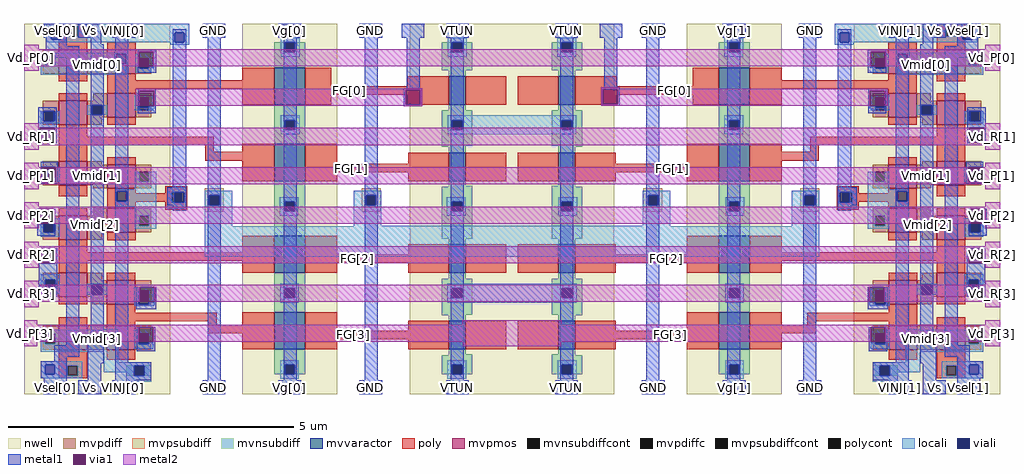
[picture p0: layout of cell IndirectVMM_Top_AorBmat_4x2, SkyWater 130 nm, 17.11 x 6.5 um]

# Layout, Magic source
magic
tech sky130A
<< nwell >>
rect -12 15 244 665
rect 371 15 537 665
rect 664 15 1023 665
rect 1150 15 1316 665
rect 1443 15 1699 665
<< mvpmos >>
rect 49 577 99 619
rect 134 577 184 619
rect 49 488 99 530
rect 134 501 184 543
rect 1503 577 1553 619
rect 1588 577 1638 619
rect 49 382 99 424
rect 134 376 184 418
rect 1503 501 1553 543
rect 1588 488 1638 530
rect 49 286 99 328
rect 134 299 184 341
rect 1503 376 1553 418
rect 1588 382 1638 424
rect 1503 299 1553 341
rect 1588 286 1638 328
rect 49 186 99 228
rect 133 173 183 215
rect 49 93 99 135
rect 133 93 183 135
rect 1504 173 1554 215
rect 1588 186 1638 228
rect 1504 93 1554 135
rect 1588 93 1638 135
<< mvvaractor >>
rect 427 523 481 588
rect 733 523 762 573
rect 925 523 954 573
rect 1206 523 1260 588
rect 427 389 481 454
rect 733 389 762 439
rect 925 389 954 439
rect 1206 389 1260 454
rect 427 228 481 293
rect 733 228 762 278
rect 925 228 954 278
rect 1206 228 1260 293
rect 427 94 481 159
rect 733 94 762 144
rect 925 94 954 144
rect 1206 94 1260 159
<< mvpdiff >>
rect 21 610 49 619
rect 21 593 25 610
rect 43 593 49 610
rect 21 577 49 593
rect 99 577 134 619
rect 184 604 211 619
rect 184 587 190 604
rect 207 587 211 604
rect 184 577 211 587
rect 109 530 134 543
rect 21 511 49 530
rect 21 494 25 511
rect 43 494 49 511
rect 21 488 49 494
rect 99 522 134 530
rect 99 505 107 522
rect 125 505 134 522
rect 99 501 134 505
rect 184 530 211 543
rect 184 513 190 530
rect 207 513 211 530
rect 1476 604 1503 619
rect 1476 587 1480 604
rect 1497 587 1503 604
rect 1476 577 1503 587
rect 1553 577 1588 619
rect 1638 610 1666 619
rect 1638 593 1644 610
rect 1662 593 1666 610
rect 1638 577 1666 593
rect 1476 530 1503 543
rect 184 501 211 513
rect 99 488 124 501
rect 21 413 49 424
rect 21 396 25 413
rect 43 396 49 413
rect 21 382 49 396
rect 99 418 124 424
rect 99 382 134 418
rect 109 376 134 382
rect 184 405 211 418
rect 184 388 190 405
rect 207 388 211 405
rect 1476 513 1480 530
rect 1497 513 1503 530
rect 1476 501 1503 513
rect 1553 530 1578 543
rect 1553 522 1588 530
rect 1553 505 1562 522
rect 1580 505 1588 522
rect 1553 501 1588 505
rect 1563 488 1588 501
rect 1638 511 1666 530
rect 1638 494 1644 511
rect 1662 494 1666 511
rect 1638 488 1666 494
rect 1563 418 1588 424
rect 1476 405 1503 418
rect 184 376 211 388
rect 109 328 134 341
rect 21 316 49 328
rect 21 299 25 316
rect 43 299 49 316
rect 21 286 49 299
rect 99 299 134 328
rect 184 328 211 341
rect 184 311 190 328
rect 207 311 211 328
rect 184 299 211 311
rect 99 286 125 299
rect 1476 388 1480 405
rect 1497 388 1503 405
rect 1476 376 1503 388
rect 1553 382 1588 418
rect 1638 413 1666 424
rect 1638 396 1644 413
rect 1662 396 1666 413
rect 1638 382 1666 396
rect 1553 376 1578 382
rect 1476 328 1503 341
rect 1476 311 1480 328
rect 1497 311 1503 328
rect 1476 299 1503 311
rect 1553 328 1578 341
rect 1553 299 1588 328
rect 1562 286 1588 299
rect 1638 316 1666 328
rect 1638 299 1644 316
rect 1662 299 1666 316
rect 1638 286 1666 299
rect 21 216 49 228
rect 21 199 25 216
rect 43 199 49 216
rect 21 186 49 199
rect 99 215 125 228
rect 99 207 133 215
rect 99 190 107 207
rect 125 190 133 207
rect 99 186 133 190
rect 108 173 133 186
rect 183 197 211 215
rect 183 180 189 197
rect 207 180 211 197
rect 183 173 211 180
rect 21 121 49 135
rect 21 104 25 121
rect 43 104 49 121
rect 21 93 49 104
rect 99 93 133 135
rect 183 120 211 135
rect 183 103 189 120
rect 207 103 211 120
rect 183 93 211 103
rect 1562 215 1588 228
rect 1476 197 1504 215
rect 1476 180 1480 197
rect 1498 180 1504 197
rect 1476 173 1504 180
rect 1554 207 1588 215
rect 1554 190 1562 207
rect 1580 190 1588 207
rect 1554 186 1588 190
rect 1638 216 1666 228
rect 1638 199 1644 216
rect 1662 199 1666 216
rect 1638 186 1666 199
rect 1554 173 1579 186
rect 1476 120 1504 135
rect 1476 103 1480 120
rect 1498 103 1504 120
rect 1476 93 1504 103
rect 1554 93 1588 135
rect 1638 121 1666 135
rect 1638 104 1644 121
rect 1662 104 1666 121
rect 1638 93 1666 104
<< mvpdiffc >>
rect 25 593 43 610
rect 190 587 207 604
rect 25 494 43 511
rect 107 505 125 522
rect 190 513 207 530
rect 1480 587 1497 604
rect 1644 593 1662 610
rect 25 396 43 413
rect 190 388 207 405
rect 1480 513 1497 530
rect 1562 505 1580 522
rect 1644 494 1662 511
rect 25 299 43 316
rect 190 311 207 328
rect 1480 388 1497 405
rect 1644 396 1662 413
rect 1480 311 1497 328
rect 1644 299 1662 316
rect 25 199 43 216
rect 107 190 125 207
rect 189 180 207 197
rect 25 104 43 121
rect 189 103 207 120
rect 1480 180 1498 197
rect 1562 190 1580 207
rect 1644 199 1662 216
rect 1480 103 1498 120
rect 1644 104 1662 121
<< mvpsubdiff >>
rect 305 364 338 376
rect 305 347 313 364
rect 330 347 338 364
rect 305 335 338 347
rect 580 364 613 376
rect 580 347 588 364
rect 605 347 613 364
rect 580 335 613 347
rect 1074 364 1107 376
rect 1074 347 1082 364
rect 1099 347 1107 364
rect 1074 335 1107 347
rect 1349 364 1382 376
rect 1349 347 1357 364
rect 1374 347 1382 364
rect 1349 335 1382 347
<< mvnsubdiff >>
rect 427 615 446 632
rect 463 615 481 632
rect 427 588 481 615
rect 720 615 739 632
rect 756 615 774 632
rect 720 583 774 615
rect 913 615 931 632
rect 948 615 967 632
rect 913 583 967 615
rect 1206 615 1224 632
rect 1241 615 1260 632
rect 1206 588 1260 615
rect 733 573 762 583
rect 925 573 954 583
rect 427 496 481 523
rect 733 513 762 523
rect 925 513 954 523
rect 427 479 446 496
rect 463 479 481 496
rect 427 454 481 479
rect 720 496 774 513
rect 720 479 739 496
rect 756 479 774 496
rect 720 451 774 479
rect 913 496 967 513
rect 913 479 931 496
rect 948 479 967 496
rect 913 451 967 479
rect 1206 496 1260 523
rect 1206 479 1224 496
rect 1241 479 1260 496
rect 1206 454 1260 479
rect 720 449 762 451
rect 733 439 762 449
rect 925 449 967 451
rect 925 439 954 449
rect 427 353 481 389
rect 733 381 762 389
rect 925 381 954 389
rect 733 379 774 381
rect 427 336 444 353
rect 461 336 481 353
rect 427 293 481 336
rect 720 353 774 379
rect 720 336 737 353
rect 754 336 774 353
rect 720 288 774 336
rect 913 379 954 381
rect 913 353 967 379
rect 913 336 933 353
rect 950 336 967 353
rect 913 288 967 336
rect 1206 353 1260 389
rect 1206 336 1226 353
rect 1243 336 1260 353
rect 1206 293 1260 336
rect 733 278 762 288
rect 925 278 954 288
rect 427 201 481 228
rect 733 218 762 228
rect 925 218 954 228
rect 427 184 445 201
rect 462 184 481 201
rect 427 159 481 184
rect 720 201 774 218
rect 720 184 738 201
rect 755 184 774 201
rect 720 155 774 184
rect 913 201 967 218
rect 913 184 932 201
rect 949 184 967 201
rect 913 155 967 184
rect 1206 201 1260 228
rect 1206 184 1225 201
rect 1242 184 1260 201
rect 1206 159 1260 184
rect 720 154 762 155
rect 733 144 762 154
rect 925 154 967 155
rect 925 144 954 154
rect 427 67 481 94
rect 733 85 762 94
rect 925 85 954 94
rect 733 84 774 85
rect 167 65 211 66
rect 167 48 181 65
rect 199 48 211 65
rect 427 50 445 67
rect 462 50 481 67
rect 720 67 774 84
rect 720 50 738 67
rect 755 50 774 67
rect 913 84 954 85
rect 913 67 967 84
rect 913 50 932 67
rect 949 50 967 67
rect 1206 67 1260 94
rect 1206 50 1225 67
rect 1242 50 1260 67
rect 1476 65 1520 66
rect 1476 48 1488 65
rect 1506 48 1520 65
<< mvpsubdiffcont >>
rect 313 347 330 364
rect 588 347 605 364
rect 1082 347 1099 364
rect 1357 347 1374 364
<< mvnsubdiffcont >>
rect 446 615 463 632
rect 739 615 756 632
rect 931 615 948 632
rect 1224 615 1241 632
rect 446 479 463 496
rect 739 479 756 496
rect 931 479 948 496
rect 1224 479 1241 496
rect 444 336 461 353
rect 737 336 754 353
rect 933 336 950 353
rect 1226 336 1243 353
rect 445 184 462 201
rect 738 184 755 201
rect 932 184 949 201
rect 1225 184 1242 201
rect 181 48 199 65
rect 445 50 462 67
rect 738 50 755 67
rect 932 50 949 67
rect 1225 50 1242 67
rect 1488 48 1506 65
<< poly >>
rect 49 660 99 665
rect 49 643 65 660
rect 82 643 99 660
rect 49 619 99 643
rect 1588 660 1638 665
rect 1588 643 1605 660
rect 1622 643 1638 660
rect 134 619 184 632
rect 49 564 99 577
rect 134 566 184 577
rect 371 566 427 588
rect 134 551 427 566
rect 134 543 184 551
rect 49 530 99 543
rect 371 523 427 551
rect 481 555 527 588
rect 1503 619 1553 632
rect 1588 619 1638 643
rect 660 555 733 573
rect 481 540 733 555
rect 481 523 527 540
rect 660 523 733 540
rect 762 523 833 573
rect 854 523 925 573
rect 954 555 1027 573
rect 1160 555 1206 588
rect 954 540 1206 555
rect 954 523 1027 540
rect 1160 523 1206 540
rect 1260 566 1316 588
rect 1503 566 1553 577
rect 1260 551 1553 566
rect 1588 564 1638 577
rect 1260 523 1316 551
rect 1503 543 1553 551
rect 134 488 184 501
rect 49 467 99 488
rect 49 452 321 467
rect 49 424 99 452
rect 306 440 321 452
rect 371 440 427 454
rect 134 418 184 431
rect 306 425 427 440
rect 49 362 99 382
rect 371 389 427 425
rect 481 419 537 454
rect 1588 530 1638 543
rect 1503 488 1553 501
rect 1588 467 1638 488
rect 662 419 733 439
rect 481 404 733 419
rect 481 389 537 404
rect 662 389 733 404
rect 762 389 833 439
rect 854 389 925 439
rect 954 419 1025 439
rect 1150 419 1206 454
rect 954 404 1206 419
rect 954 389 1025 404
rect 1150 389 1206 404
rect 1260 440 1316 454
rect 1366 452 1638 467
rect 1366 440 1381 452
rect 1260 425 1381 440
rect 1260 389 1316 425
rect 1503 418 1553 431
rect 1588 424 1638 452
rect 134 368 184 376
rect 236 369 274 380
rect 236 368 247 369
rect 134 353 247 368
rect 134 341 184 353
rect 236 352 247 353
rect 264 352 274 369
rect 49 328 99 341
rect 236 339 274 352
rect 49 264 99 286
rect 134 285 184 299
rect 371 264 427 293
rect 49 249 427 264
rect 49 228 99 249
rect 371 228 427 249
rect 481 261 537 293
rect 1413 369 1451 380
rect 1413 352 1423 369
rect 1440 368 1451 369
rect 1503 368 1553 376
rect 1440 353 1553 368
rect 1588 362 1638 382
rect 1440 352 1451 353
rect 1413 339 1451 352
rect 1503 341 1553 353
rect 1588 328 1638 341
rect 662 261 733 278
rect 481 246 733 261
rect 481 228 537 246
rect 662 228 733 246
rect 762 228 833 278
rect 854 228 925 278
rect 954 261 1025 278
rect 1150 261 1206 293
rect 954 246 1206 261
rect 954 228 1025 246
rect 1150 228 1206 246
rect 1260 264 1316 293
rect 1503 285 1553 299
rect 1588 264 1638 286
rect 1260 249 1638 264
rect 1260 228 1316 249
rect 1588 228 1638 249
rect 133 215 183 228
rect 49 173 99 186
rect 133 158 183 173
rect 49 135 99 150
rect 133 143 326 158
rect 133 135 183 143
rect 310 137 326 143
rect 371 137 427 159
rect 310 122 427 137
rect 371 94 427 122
rect 481 127 537 159
rect 1504 215 1554 228
rect 1588 173 1638 186
rect 662 127 733 144
rect 481 112 733 127
rect 481 94 537 112
rect 662 94 733 112
rect 762 94 833 144
rect 854 94 925 144
rect 954 127 1025 144
rect 1150 127 1206 159
rect 954 112 1206 127
rect 954 94 1025 112
rect 1150 94 1206 112
rect 1260 137 1316 159
rect 1504 158 1554 173
rect 1361 143 1554 158
rect 1361 137 1377 143
rect 1260 122 1377 137
rect 1504 135 1554 143
rect 1588 135 1638 150
rect 1260 94 1316 122
rect 49 65 99 93
rect 133 76 183 93
rect 49 48 65 65
rect 82 48 99 65
rect 1504 76 1554 93
rect 1588 65 1638 93
rect 1588 48 1605 65
rect 1622 48 1638 65
rect 49 43 99 48
rect 1588 43 1638 48
<< polycont >>
rect 65 643 82 660
rect 1605 643 1622 660
rect 247 352 264 369
rect 1423 352 1440 369
rect 65 48 82 65
rect 1605 48 1622 65
<< locali >>
rect 27 660 278 665
rect 27 655 65 660
rect 27 638 36 655
rect 53 643 65 655
rect 82 649 278 660
rect 82 643 252 649
rect 53 638 252 643
rect 27 632 252 638
rect 269 632 278 649
rect 1409 660 1660 665
rect 1409 649 1605 660
rect 244 628 278 632
rect 438 632 471 640
rect 438 615 446 632
rect 463 615 471 632
rect 17 612 167 614
rect 17 610 150 612
rect 17 593 25 610
rect 43 595 150 610
rect 43 593 167 595
rect 17 575 167 593
rect 184 605 211 612
rect 438 607 471 615
rect 731 632 764 640
rect 731 615 739 632
rect 756 615 764 632
rect 731 607 764 615
rect 923 632 956 640
rect 923 615 931 632
rect 948 615 956 632
rect 923 607 956 615
rect 1216 632 1249 640
rect 1216 615 1224 632
rect 1241 615 1249 632
rect 1409 632 1418 649
rect 1435 643 1605 649
rect 1622 655 1660 660
rect 1622 643 1634 655
rect 1435 638 1634 643
rect 1651 638 1660 655
rect 1435 632 1660 638
rect 1409 628 1443 632
rect 1216 607 1249 615
rect 1520 612 1670 614
rect 1476 605 1503 612
rect 184 604 216 605
rect 184 587 190 604
rect 207 588 216 604
rect 1471 604 1503 605
rect 1471 588 1480 604
rect 207 587 211 588
rect 184 579 211 587
rect 1476 587 1480 588
rect 1497 587 1503 604
rect 1476 579 1503 587
rect 1537 610 1670 612
rect 1537 595 1644 610
rect 1520 593 1644 595
rect 1662 593 1670 610
rect 1520 575 1670 593
rect 182 535 215 539
rect 17 494 22 511
rect 43 494 51 511
rect 99 505 107 522
rect 125 505 134 522
rect 182 513 190 535
rect 207 534 215 535
rect 1472 535 1505 539
rect 1472 534 1480 535
rect 207 517 219 534
rect 1468 517 1480 534
rect 207 513 215 517
rect 1472 513 1480 517
rect 1497 513 1505 535
rect 1553 505 1562 522
rect 1580 505 1588 522
rect 17 490 51 494
rect 438 496 471 504
rect 438 479 446 496
rect 463 479 471 496
rect 438 471 471 479
rect 731 496 956 504
rect 731 479 739 496
rect 756 479 931 496
rect 948 479 956 496
rect 731 471 956 479
rect 1216 496 1249 504
rect 1216 479 1224 496
rect 1241 479 1249 496
rect 1636 494 1644 511
rect 1665 494 1670 511
rect 1636 490 1670 494
rect 1216 471 1249 479
rect 17 412 25 413
rect 17 395 24 412
rect 43 396 51 413
rect 41 395 51 396
rect 17 388 51 395
rect 182 388 190 405
rect 207 388 220 405
rect 182 375 220 388
rect 1467 388 1480 405
rect 1497 388 1505 405
rect 1636 396 1644 413
rect 1662 412 1670 413
rect 1636 395 1646 396
rect 1663 395 1670 412
rect 1636 388 1670 395
rect 148 371 220 375
rect 148 354 151 371
rect 168 354 220 371
rect 148 344 220 354
rect 182 328 220 344
rect 239 369 272 378
rect 239 352 247 369
rect 269 352 272 369
rect 239 340 272 352
rect 305 364 353 372
rect 305 347 313 364
rect 330 347 353 364
rect 566 364 614 372
rect 17 316 51 324
rect 17 299 23 316
rect 43 299 51 316
rect 182 311 190 328
rect 207 311 220 328
rect 182 305 220 311
rect 305 310 353 347
rect 436 353 469 361
rect 436 336 444 353
rect 463 336 469 353
rect 436 328 469 336
rect 566 347 588 364
rect 605 347 614 364
rect 1073 364 1121 372
rect 566 311 614 347
rect 729 353 762 361
rect 729 336 737 353
rect 756 336 762 353
rect 729 328 762 336
rect 925 353 958 361
rect 925 336 931 353
rect 950 336 958 353
rect 925 328 958 336
rect 1073 347 1082 364
rect 1099 347 1121 364
rect 1334 364 1382 372
rect 1073 311 1121 347
rect 1218 353 1251 361
rect 1218 336 1224 353
rect 1243 336 1251 353
rect 1218 328 1251 336
rect 1334 347 1357 364
rect 1374 347 1382 364
rect 566 310 1121 311
rect 1334 310 1382 347
rect 1415 369 1448 378
rect 1415 352 1418 369
rect 1440 352 1448 369
rect 1415 340 1448 352
rect 1467 375 1505 388
rect 1467 371 1539 375
rect 1467 354 1519 371
rect 1536 354 1539 371
rect 1467 344 1539 354
rect 17 291 51 299
rect 305 256 1382 310
rect 1467 328 1505 344
rect 1467 311 1480 328
rect 1497 311 1505 328
rect 1467 305 1505 311
rect 1636 316 1670 324
rect 1636 299 1644 316
rect 1664 299 1670 316
rect 1636 291 1670 299
rect 17 216 51 226
rect 17 199 25 216
rect 43 199 51 216
rect 1636 216 1670 226
rect 17 191 51 199
rect 99 207 133 209
rect 99 190 107 207
rect 125 190 133 207
rect 181 197 217 203
rect 181 173 189 197
rect 207 173 217 197
rect 437 201 470 209
rect 437 184 445 201
rect 463 184 470 201
rect 437 176 470 184
rect 730 201 957 209
rect 730 184 738 201
rect 756 184 931 201
rect 949 184 957 201
rect 730 176 957 184
rect 1217 201 1250 209
rect 1554 207 1588 209
rect 1217 184 1224 201
rect 1242 184 1250 201
rect 1217 176 1250 184
rect 1470 197 1506 203
rect 1470 173 1480 197
rect 1498 173 1506 197
rect 1554 190 1562 207
rect 1580 190 1588 207
rect 1636 199 1644 216
rect 1662 199 1670 216
rect 1636 191 1670 199
rect 181 170 216 173
rect 1471 170 1506 173
rect 128 128 153 129
rect 1534 128 1559 129
rect 17 121 153 128
rect 17 104 25 121
rect 43 104 153 121
rect 17 90 153 104
rect 181 121 215 128
rect 181 103 189 121
rect 207 103 215 121
rect 181 95 215 103
rect 1472 121 1506 128
rect 1472 103 1480 121
rect 1498 103 1506 121
rect 1472 95 1506 103
rect 1534 121 1670 128
rect 1534 104 1644 121
rect 1662 104 1670 121
rect 17 67 90 73
rect 17 50 25 67
rect 42 65 90 67
rect 42 50 65 65
rect 17 48 65 50
rect 82 48 90 65
rect 128 71 153 90
rect 1534 90 1670 104
rect 128 65 211 71
rect 128 54 181 65
rect 17 43 90 48
rect 167 48 181 54
rect 199 48 211 65
rect 167 37 211 48
rect 437 67 470 75
rect 437 50 445 67
rect 463 50 470 67
rect 437 42 470 50
rect 730 67 763 75
rect 730 50 738 67
rect 756 50 763 67
rect 730 42 763 50
rect 924 67 957 75
rect 924 50 931 67
rect 949 50 957 67
rect 924 42 957 50
rect 1217 67 1250 75
rect 1534 71 1559 90
rect 1217 50 1224 67
rect 1242 50 1250 67
rect 1217 42 1250 50
rect 1476 65 1559 71
rect 1476 48 1488 65
rect 1506 54 1559 65
rect 1597 67 1670 73
rect 1597 65 1645 67
rect 1506 48 1520 54
rect 1476 37 1520 48
rect 1597 48 1605 65
rect 1622 50 1645 65
rect 1662 50 1670 67
rect 1622 48 1670 50
rect 1597 43 1670 48
<< viali >>
rect 36 638 53 655
rect 252 632 269 649
rect 446 615 463 632
rect 150 595 167 612
rect 739 615 756 632
rect 931 615 948 632
rect 1224 615 1241 632
rect 1418 632 1435 649
rect 1634 638 1651 655
rect 190 587 207 604
rect 1480 587 1497 604
rect 1520 595 1537 612
rect 22 494 25 511
rect 25 494 40 511
rect 108 505 125 522
rect 190 530 207 535
rect 190 518 207 530
rect 1480 530 1497 535
rect 1480 518 1497 530
rect 1562 505 1579 522
rect 446 479 463 496
rect 739 479 756 496
rect 931 479 948 496
rect 1224 479 1241 496
rect 1647 494 1662 511
rect 1662 494 1665 511
rect 24 396 25 412
rect 25 396 41 412
rect 24 395 41 396
rect 1646 396 1662 412
rect 1662 396 1663 412
rect 1646 395 1663 396
rect 151 354 168 371
rect 252 352 264 369
rect 264 352 269 369
rect 313 347 330 364
rect 23 299 25 316
rect 25 299 40 316
rect 446 336 461 353
rect 461 336 463 353
rect 588 347 605 364
rect 739 336 754 353
rect 754 336 756 353
rect 931 336 933 353
rect 933 336 948 353
rect 1082 347 1099 364
rect 1224 336 1226 353
rect 1226 336 1241 353
rect 1357 347 1374 364
rect 1418 352 1423 369
rect 1423 352 1435 369
rect 1519 354 1536 371
rect 1647 299 1662 316
rect 1662 299 1664 316
rect 25 199 43 216
rect 108 190 125 207
rect 189 180 207 190
rect 189 173 207 180
rect 446 184 462 201
rect 462 184 463 201
rect 739 184 755 201
rect 755 184 756 201
rect 931 184 932 201
rect 932 184 948 201
rect 1224 184 1225 201
rect 1225 184 1241 201
rect 1480 180 1498 190
rect 1480 173 1498 180
rect 1562 190 1579 207
rect 1644 199 1662 216
rect 189 120 207 121
rect 189 104 207 120
rect 1480 120 1498 121
rect 1480 104 1498 120
rect 25 50 42 67
rect 181 48 199 65
rect 446 50 462 67
rect 462 50 463 67
rect 739 50 755 67
rect 755 50 756 67
rect 931 50 932 67
rect 932 50 948 67
rect 1224 50 1225 67
rect 1225 50 1241 67
rect 1488 48 1506 65
rect 1645 50 1662 67
<< metal1 >>
rect 23 655 63 665
rect 23 640 36 655
rect 26 638 36 640
rect 53 638 63 655
rect 83 640 123 665
rect 143 640 183 665
rect 249 649 272 655
rect 26 625 63 638
rect 105 629 123 640
rect 26 605 85 625
rect 13 511 45 518
rect 13 494 22 511
rect 40 494 45 511
rect 13 482 45 494
rect 13 456 16 482
rect 42 456 45 482
rect 13 455 45 456
rect 17 413 47 423
rect 17 387 18 413
rect 44 387 47 413
rect 17 384 47 387
rect 11 314 14 340
rect 11 299 23 314
rect 40 299 43 340
rect 11 293 43 299
rect 14 245 17 271
rect 43 245 46 271
rect 14 216 46 245
rect 14 199 25 216
rect 43 199 46 216
rect 14 186 46 199
rect 62 101 85 605
rect 105 522 128 629
rect 148 616 171 640
rect 249 632 252 649
rect 269 632 272 649
rect 301 640 341 665
rect 434 640 474 665
rect 576 640 616 665
rect 650 640 690 665
rect 728 640 768 665
rect 919 640 959 665
rect 997 640 1037 665
rect 1071 640 1111 665
rect 1213 640 1253 665
rect 1346 640 1386 665
rect 1415 649 1438 655
rect 146 612 171 616
rect 146 595 150 612
rect 167 595 171 612
rect 146 589 171 595
rect 105 505 108 522
rect 125 505 128 522
rect 105 207 128 505
rect 105 190 108 207
rect 125 190 128 207
rect 105 108 128 190
rect 41 81 85 101
rect 41 73 63 81
rect 17 67 63 73
rect 17 50 25 67
rect 42 50 63 67
rect 17 43 63 50
rect 23 15 63 43
rect 100 70 128 108
rect 148 371 171 589
rect 187 616 220 619
rect 187 590 189 616
rect 215 590 220 616
rect 187 587 190 590
rect 207 587 220 590
rect 187 579 220 587
rect 187 547 219 551
rect 187 518 190 547
rect 216 521 219 547
rect 207 518 219 521
rect 187 508 219 518
rect 249 378 272 632
rect 148 354 151 371
rect 168 354 171 371
rect 148 71 171 354
rect 239 369 272 378
rect 239 352 252 369
rect 269 352 272 369
rect 239 347 272 352
rect 249 337 272 347
rect 310 364 333 640
rect 310 347 313 364
rect 330 347 333 364
rect 185 190 191 203
rect 185 173 189 190
rect 217 177 220 203
rect 207 173 220 177
rect 185 164 220 173
rect 186 104 189 133
rect 215 107 218 133
rect 207 104 218 107
rect 186 91 218 104
rect 100 40 123 70
rect 148 65 211 71
rect 148 48 181 65
rect 199 48 211 65
rect 148 40 211 48
rect 310 40 333 347
rect 443 632 466 640
rect 443 615 446 632
rect 463 615 466 632
rect 443 496 466 615
rect 443 479 446 496
rect 463 479 466 496
rect 443 353 466 479
rect 443 336 446 353
rect 463 336 466 353
rect 443 201 466 336
rect 443 184 446 201
rect 463 184 466 201
rect 443 67 466 184
rect 443 50 446 67
rect 463 50 466 67
rect 443 40 466 50
rect 585 364 608 640
rect 659 552 682 640
rect 736 632 759 640
rect 736 615 739 632
rect 756 615 759 632
rect 654 549 686 552
rect 654 523 657 549
rect 683 523 686 549
rect 654 520 686 523
rect 585 347 588 364
rect 605 347 608 364
rect 585 40 608 347
rect 736 496 759 615
rect 736 479 739 496
rect 756 479 759 496
rect 736 353 759 479
rect 736 336 739 353
rect 756 336 759 353
rect 736 201 759 336
rect 736 184 739 201
rect 756 184 759 201
rect 736 67 759 184
rect 736 50 739 67
rect 756 50 759 67
rect 736 40 759 50
rect 928 632 951 640
rect 928 615 931 632
rect 948 615 951 632
rect 928 496 951 615
rect 1005 553 1028 640
rect 1000 550 1032 553
rect 1000 524 1003 550
rect 1029 524 1032 550
rect 1000 521 1032 524
rect 928 479 931 496
rect 948 479 951 496
rect 928 353 951 479
rect 928 336 931 353
rect 948 336 951 353
rect 928 201 951 336
rect 928 184 931 201
rect 948 184 951 201
rect 928 67 951 184
rect 928 50 931 67
rect 948 50 951 67
rect 928 40 951 50
rect 1079 364 1102 640
rect 1079 347 1082 364
rect 1099 347 1102 364
rect 1079 40 1102 347
rect 1221 632 1244 640
rect 1221 615 1224 632
rect 1241 615 1244 632
rect 1221 496 1244 615
rect 1221 479 1224 496
rect 1241 479 1244 496
rect 1221 353 1244 479
rect 1221 336 1224 353
rect 1241 336 1244 353
rect 1221 201 1244 336
rect 1221 184 1224 201
rect 1241 184 1244 201
rect 1221 67 1244 184
rect 1221 50 1224 67
rect 1241 50 1244 67
rect 1221 40 1244 50
rect 1354 364 1377 640
rect 1354 347 1357 364
rect 1374 347 1377 364
rect 1354 40 1377 347
rect 1415 632 1418 649
rect 1435 632 1438 649
rect 1504 640 1544 665
rect 1564 640 1604 665
rect 1624 655 1664 665
rect 1415 378 1438 632
rect 1467 616 1500 619
rect 1467 590 1472 616
rect 1498 590 1500 616
rect 1467 587 1480 590
rect 1497 587 1500 590
rect 1467 579 1500 587
rect 1516 616 1539 640
rect 1564 629 1582 640
rect 1516 612 1541 616
rect 1516 595 1520 612
rect 1537 595 1541 612
rect 1516 589 1541 595
rect 1468 547 1500 551
rect 1468 521 1471 547
rect 1468 518 1480 521
rect 1497 518 1500 547
rect 1468 508 1500 518
rect 1415 369 1448 378
rect 1415 352 1418 369
rect 1435 352 1448 369
rect 1415 347 1448 352
rect 1516 371 1539 589
rect 1516 354 1519 371
rect 1536 354 1539 371
rect 1415 337 1438 347
rect 1467 177 1470 203
rect 1496 190 1502 203
rect 1467 173 1480 177
rect 1498 173 1502 190
rect 1467 164 1502 173
rect 1469 107 1472 133
rect 1469 104 1480 107
rect 1498 104 1501 133
rect 1469 91 1501 104
rect 1516 71 1539 354
rect 1476 65 1539 71
rect 1559 522 1582 629
rect 1624 638 1634 655
rect 1651 640 1664 655
rect 1651 638 1661 640
rect 1624 625 1661 638
rect 1559 505 1562 522
rect 1579 505 1582 522
rect 1559 207 1582 505
rect 1559 190 1562 207
rect 1579 190 1582 207
rect 1559 108 1582 190
rect 1602 605 1661 625
rect 1559 70 1587 108
rect 1602 101 1625 605
rect 1642 511 1674 518
rect 1642 494 1647 511
rect 1665 494 1674 511
rect 1642 482 1674 494
rect 1642 456 1645 482
rect 1671 456 1674 482
rect 1642 455 1674 456
rect 1640 413 1670 423
rect 1640 387 1643 413
rect 1669 387 1670 413
rect 1640 384 1670 387
rect 1644 299 1647 340
rect 1673 314 1676 340
rect 1664 299 1676 314
rect 1644 293 1676 299
rect 1641 245 1644 271
rect 1670 245 1673 271
rect 1641 216 1673 245
rect 1641 199 1644 216
rect 1662 199 1673 216
rect 1641 186 1673 199
rect 1602 81 1646 101
rect 1476 48 1488 65
rect 1506 48 1539 65
rect 1476 40 1539 48
rect 1564 40 1587 70
rect 1624 73 1646 81
rect 1624 67 1670 73
rect 1624 50 1645 67
rect 1662 50 1670 67
rect 1624 43 1670 50
rect 83 15 123 40
rect 143 15 183 40
rect 301 15 341 40
rect 434 15 474 40
rect 576 15 616 40
rect 728 15 768 40
rect 919 15 959 40
rect 1071 15 1111 40
rect 1213 15 1253 40
rect 1346 15 1386 40
rect 1504 15 1544 40
rect 1564 15 1604 40
rect 1624 15 1664 43
<< via1 >>
rect 16 456 42 482
rect 18 412 44 413
rect 18 395 24 412
rect 24 395 41 412
rect 41 395 44 412
rect 18 387 44 395
rect 14 316 40 340
rect 14 314 23 316
rect 23 314 40 316
rect 17 245 43 271
rect 189 604 215 616
rect 189 590 190 604
rect 190 590 207 604
rect 207 590 215 604
rect 190 535 216 547
rect 190 521 207 535
rect 207 521 216 535
rect 191 190 217 203
rect 191 177 207 190
rect 207 177 217 190
rect 189 121 215 133
rect 189 107 207 121
rect 207 107 215 121
rect 657 523 683 549
rect 1003 524 1029 550
rect 1472 604 1498 616
rect 1472 590 1480 604
rect 1480 590 1497 604
rect 1497 590 1498 604
rect 1471 535 1497 547
rect 1471 521 1480 535
rect 1480 521 1497 535
rect 1470 190 1496 203
rect 1470 177 1480 190
rect 1480 177 1496 190
rect 1472 121 1498 133
rect 1472 107 1480 121
rect 1480 107 1498 121
rect 1645 456 1671 482
rect 1643 412 1669 413
rect 1643 395 1646 412
rect 1646 395 1663 412
rect 1663 395 1669 412
rect 1643 387 1669 395
rect 1647 316 1673 340
rect 1647 314 1664 316
rect 1664 314 1673 316
rect 1644 245 1670 271
<< metal2 >>
rect -12 620 14 628
rect 1673 620 1699 628
rect -12 616 1699 620
rect -12 590 189 616
rect 215 590 1472 616
rect 1498 590 1699 616
rect -12 582 14 590
rect 1673 582 1699 590
rect 654 551 686 552
rect 184 549 686 551
rect 184 547 657 549
rect 184 521 190 547
rect 216 523 657 547
rect 683 523 686 549
rect 216 521 686 523
rect 1000 551 1032 553
rect 1000 550 1502 551
rect 1000 524 1003 550
rect 1029 547 1502 550
rect 1029 524 1471 547
rect 1000 521 1471 524
rect 1497 521 1502 547
rect 654 520 686 521
rect -12 482 14 490
rect 1673 482 1699 490
rect -12 456 16 482
rect 42 456 1645 482
rect 1671 456 1699 482
rect -12 452 1699 456
rect -12 444 14 452
rect 1673 444 1699 452
rect -12 413 14 421
rect 1673 413 1699 421
rect -12 387 18 413
rect 44 387 1643 413
rect 1669 387 1699 413
rect -12 383 1699 387
rect -12 375 14 383
rect 1673 375 1699 383
rect -12 344 14 352
rect 1673 344 1699 352
rect -12 340 1699 344
rect -12 306 14 340
rect 40 314 1647 340
rect 1673 306 1699 340
rect -12 275 14 283
rect 1673 275 1699 283
rect -12 271 1699 275
rect -12 245 17 271
rect 43 245 1644 271
rect 1670 245 1699 271
rect -12 237 14 245
rect 1673 237 1699 245
rect -12 207 14 214
rect 1673 207 1699 214
rect -12 203 1699 207
rect -12 177 191 203
rect 217 177 1470 203
rect 1496 177 1699 203
rect -12 168 14 177
rect 1673 168 1699 177
rect -12 137 11 145
rect 756 137 931 145
rect 1673 137 1699 145
rect -12 133 1699 137
rect -12 107 189 133
rect 215 107 1472 133
rect 1498 107 1699 133
rect -12 99 11 107
rect 757 99 930 107
rect 1673 99 1699 107
<< labels >>
flabel metal1 1624 640 1664 665 0 FreeSans 64 0 0 0 Vsel[1]
port 14 nsew
flabel metal1 1564 640 1604 665 0 FreeSans 64 0 0 0 Vs[1]
port 13 nsew
flabel metal1 1504 640 1544 665 0 FreeSans 64 0 0 0 VINJ[1]
port 12 nsew
flabel metal1 1213 640 1253 665 0 FreeSans 64 0 0 0 Vg[1]
port 10 nsew
flabel metal1 434 640 474 665 0 FreeSans 64 0 0 0 Vg[0]
port 5 nsew
flabel metal1 143 640 183 665 0 FreeSans 64 0 0 0 VINJ[0]
port 2 nsew
flabel metal1 83 640 123 665 0 FreeSans 64 0 0 0 Vs[0]
port 1 nsew
flabel metal1 23 640 63 665 0 FreeSans 64 0 0 0 Vsel[0]
port 0 nsew
flabel metal1 1624 15 1664 40 0 FreeSans 64 0 0 0 Vsel[1]
port 14 nsew
flabel metal1 1564 15 1604 40 0 FreeSans 64 0 0 0 Vs[1]
port 13 nsew
flabel metal1 1504 15 1544 40 0 FreeSans 64 0 0 0 VINJ[1]
port 12 nsew
flabel metal1 1213 15 1253 40 0 FreeSans 64 0 0 0 Vg[1]
port 10 nsew
flabel metal1 434 15 474 40 0 FreeSans 64 0 0 0 Vg[0]
port 5 nsew
flabel metal1 143 15 183 40 0 FreeSans 64 0 0 0 VINJ[0]
port 2 nsew
flabel metal1 83 15 123 40 0 FreeSans 64 0 0 0 Vs[0]
port 1 nsew
flabel metal1 23 15 63 40 0 FreeSans 64 0 0 0 Vsel[0]
port 0 nsew
flabel metal2 1673 99 1699 145 0 FreeSans 64 90 0 0 Vd_P[3]
port 24 nsew
flabel poly 552 540 566 555 0 FreeSans 80 0 0 0 FG[0]
flabel poly 555 404 569 419 0 FreeSans 80 0 0 0 FG[1]
flabel poly 565 246 579 261 0 FreeSans 80 0 0 0 FG[2]
flabel poly 558 112 572 127 0 FreeSans 80 0 0 0 FG[3]
flabel mvpdiff 109 585 123 600 0 FreeSans 80 0 0 0 Vmid[0]
flabel mvpdiff 109 392 123 407 0 FreeSans 80 0 0 0 Vmid[1]
flabel mvpdiff 107 305 121 320 0 FreeSans 80 0 0 0 Vmid[2]
flabel mvpdiff 109 105 123 120 0 FreeSans 80 0 0 0 Vmid[3]
flabel metal2 -12 99 11 145 0 FreeSans 40 90 0 0 Vd_P[3]
port 33 nsew
flabel metal2 -12 168 14 214 0 FreeSans 40 90 0 0 Vd_R[3]
port 34 nsew
flabel metal2 -12 237 14 283 0 FreeSans 40 90 0 0 Vd_R[2]
port 35 nsew
flabel metal2 -12 306 14 352 0 FreeSans 40 90 0 0 Vd_P[2]
port 36 nsew
flabel metal2 -12 375 14 421 0 FreeSans 40 90 0 0 Vd_P[1]
port 37 nsew
flabel metal2 -12 444 14 490 0 FreeSans 40 90 0 0 Vd_R[1]
port 38 nsew
flabel metal2 -12 582 14 628 0 FreeSans 40 90 0 0 Vd_P[0]
port 40 nsew
flabel metal1 83 640 123 665 0 FreeSans 64 0 0 0 Vs
port 42 nsew
flabel metal1 23 640 63 665 0 FreeSans 64 0 0 0 Vsel
port 50 nsew
flabel metal1 143 640 183 665 0 FreeSans 64 0 0 0 VINJ
port 49 nsew
flabel metal1 576 640 616 665 0 FreeSans 64 0 0 0 GND
port 45 nsew
flabel metal1 728 640 768 665 0 FreeSans 64 0 0 0 VTUN
port 47 nsew
flabel metal1 434 640 474 665 0 FreeSans 64 0 0 0 Vg
port 46 nsew
flabel metal1 301 640 341 665 0 FreeSans 64 0 0 0 GND
port 45 nsew
flabel metal1 301 15 341 40 0 FreeSans 64 0 0 0 GND
port 45 nsew
flabel metal1 434 15 474 40 0 FreeSans 64 0 0 0 Vg
port 46 nsew
flabel metal1 728 15 768 40 0 FreeSans 64 0 0 0 VTUN
port 47 nsew
flabel metal1 576 15 616 40 0 FreeSans 64 0 0 0 GND
port 45 nsew
flabel metal1 143 15 183 40 0 FreeSans 64 0 0 0 VINJ
port 49 nsew
flabel metal1 83 15 123 40 0 FreeSans 64 0 0 0 Vs
port 42 nsew
flabel metal1 23 15 63 40 0 FreeSans 64 0 0 0 Vsel
port 50 nsew
flabel poly 1121 540 1135 555 0 FreeSans 80 180 0 0 FG[0]
flabel poly 1118 404 1132 419 0 FreeSans 80 180 0 0 FG[1]
flabel poly 1108 246 1122 261 0 FreeSans 80 180 0 0 FG[2]
flabel poly 1115 112 1129 127 0 FreeSans 80 180 0 0 FG[3]
flabel mvpdiff 1564 585 1578 600 0 FreeSans 80 180 0 0 Vmid[0]
flabel mvpdiff 1564 392 1578 407 0 FreeSans 80 180 0 0 Vmid[1]
flabel mvpdiff 1566 305 1580 320 0 FreeSans 80 180 0 0 Vmid[2]
flabel mvpdiff 1564 105 1578 120 0 FreeSans 80 180 0 0 Vmid[3]
flabel metal2 1676 99 1699 145 0 FreeSans 40 90 0 0 Vd_P[3]
port 33 nsew
flabel metal2 1673 168 1699 214 0 FreeSans 40 90 0 0 Vd_R[3]
port 34 nsew
flabel metal2 1673 237 1699 283 0 FreeSans 40 90 0 0 Vd_R[2]
port 35 nsew
flabel metal2 1673 306 1699 352 0 FreeSans 40 90 0 0 Vd_P[2]
port 36 nsew
flabel metal2 1673 375 1699 421 0 FreeSans 40 90 0 0 Vd_P[1]
port 37 nsew
flabel metal2 1673 444 1699 490 0 FreeSans 40 90 0 0 Vd_R[1]
port 38 nsew
flabel metal2 1673 582 1699 628 0 FreeSans 40 90 0 0 Vd_P[0]
port 40 nsew
flabel metal1 1564 640 1604 665 0 FreeSans 64 180 0 0 Vs
port 42 nsew
flabel metal1 1624 640 1664 665 0 FreeSans 64 180 0 0 Vsel
port 50 nsew
flabel metal1 1504 640 1544 665 0 FreeSans 64 180 0 0 VINJ
port 49 nsew
flabel metal1 1071 640 1111 665 0 FreeSans 64 180 0 0 GND
port 45 nsew
flabel metal1 919 640 959 665 0 FreeSans 64 180 0 0 VTUN
port 47 nsew
flabel metal1 1213 640 1253 665 0 FreeSans 64 180 0 0 Vg
port 46 nsew
flabel metal1 1346 640 1386 665 0 FreeSans 64 180 0 0 GND
port 45 nsew
flabel metal1 1346 15 1386 40 0 FreeSans 64 180 0 0 GND
port 45 nsew
flabel metal1 1213 15 1253 40 0 FreeSans 64 180 0 0 Vg
port 46 nsew
flabel metal1 919 15 959 40 0 FreeSans 64 180 0 0 VTUN
port 47 nsew
flabel metal1 1071 15 1111 40 0 FreeSans 64 180 0 0 GND
port 45 nsew
flabel metal1 1504 15 1544 40 0 FreeSans 64 180 0 0 VINJ
port 49 nsew
flabel metal1 1564 15 1604 40 0 FreeSans 64 180 0 0 Vs
port 42 nsew
flabel metal1 1624 15 1664 40 0 FreeSans 64 180 0 0 Vsel
port 50 nsew
flabel metal1 650 640 690 665 0 FreeSans 80 0 0 0 fgmem[0]
port 56 nsew
flabel metal1 997 640 1037 665 0 FreeSans 80 0 0 0 fgmem[1]
port 58 nsew
<< end >>
